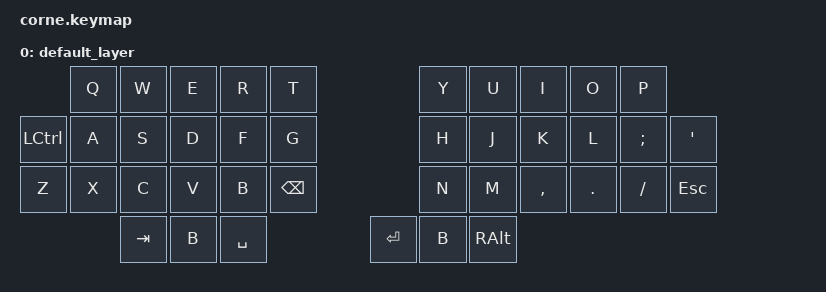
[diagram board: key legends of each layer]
/*
 * Copyright (c) 2020 The ZMK Contributors
 *
 * SPDX-License-Identifier: MIT
 */

#include <behaviors.dtsi>
#include <dt-bindings/zmk/keys.h>
#include <dt-bindings/zmk/bt.h>

/ {
        keymap {
                compatible = "zmk,keymap";

                default_layer {
// -----------------------------------------------------------------------------------------
//        |  Q  |  W  |  E  |  R  |  T  |                 |  Y  |  U   |  I  |  O  |  P  |
// | CTRL |  A  |  S  |  D  |  F  |  G  |                 |  H  |  J   |  K  |  L  |  ;  |  '   |
//        |  Z  |  x  |  C  |  V  |  B  | BSPC|     |  N  |  M   |  ,  |  .  |  /  | ESC |
//                          | TAB | LWR | SPC |     | ENT | RSE  | ALT |
                        bindings = <
             &kp Q &kp W &kp E &kp R &kp T                    &kp Y &kp U     &kp I     &kp O    &kp P 
   &kp LCTRL &kp A &kp S &kp D &kp F &kp G                    &kp H &kp J     &kp K     &kp L    &kp SEMI &kp SQT
             &kp Z &kp X &kp C &kp V &kp B &kp BSPC   &kp N   &kp M &kp COMMA &kp DOT   &kp FSLH &kp ESC
                   &kp TAB &kp B &kp SPACE            &kp RET &kp B &kp RALT
                        >;
                };
        };
};
